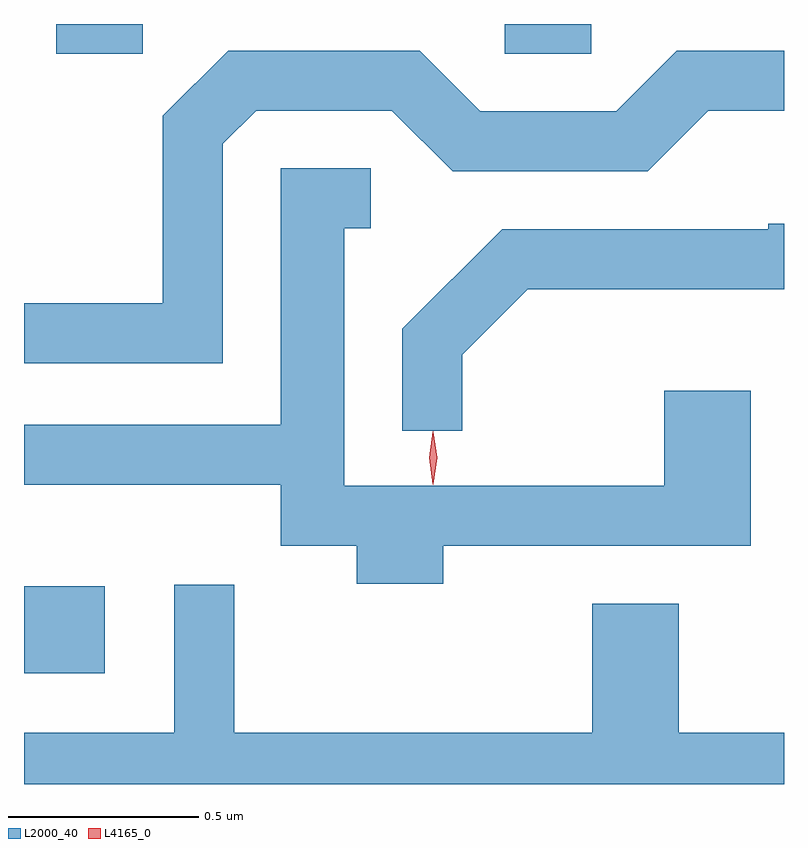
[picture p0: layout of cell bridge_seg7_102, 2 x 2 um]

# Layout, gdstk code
import gdstk
lib = gdstk.Library(unit=1e-6, precision=1e-09)
def R(c, l, rs):  # rectangles x0, y0, x1, y1
    for r in rs: c.add(gdstk.rectangle(r[:2], r[2:], *l))
def P(c, l, *ps):  # polygons
    for p in ps: c.add(gdstk.Polygon(p, *l))
L2000_40 = (2000, 40)
L4165_0 = (4165, 0)

bridge_seg7_102 = lib.new_cell('bridge_seg7_102')
R(bridge_seg7_102, L2000_40, [(1618.716,1752.481,1618.929,1752.709), (1618.801,1754.111,1619.029,1754.189), (1619.981,1754.111,1620.209,1754.189)])
P(bridge_seg7_102, L2000_40, [(1619.239,1753.874),(1619.327,1753.961),(1619.684,1753.961),(1619.844,1753.801),(1620.357,1753.801),(1620.517,1753.961),(1620.716,1753.961),(1620.716,1754.119),(1620.434,1754.119),(1620.274,1753.959),(1619.917,1753.959),(1619.757,1754.119),(1619.254,1754.119),(1619.081,1753.947),(1619.081,1753.454),(1618.716,1753.454),(1618.716,1753.296),(1619.239,1753.296)],
  [(1619.819,1752.816),(1620.629,1752.816),(1620.629,1753.224),(1620.401,1753.224),(1620.401,1752.974),(1619.559,1752.974),(1619.559,1753.651),(1619.628,1753.651),(1619.628,1753.809),(1619.391,1753.809),(1619.391,1753.134),(1618.716,1753.134),(1618.716,1752.976),(1619.391,1752.976),(1619.391,1752.816),(1619.591,1752.816),(1619.591,1752.716),(1619.819,1752.716)],
  [(1619.869,1753.319),(1620.042,1753.491),(1620.716,1753.491),(1620.716,1753.664),(1620.675,1753.664),(1620.675,1753.649),(1619.974,1753.649),(1619.711,1753.387),(1619.711,1753.118),(1619.869,1753.118)],
  [(1620.716,1752.324),(1620.439,1752.324),(1620.439,1752.664),(1620.211,1752.664),(1620.211,1752.324),(1619.269,1752.324),(1619.269,1752.713),(1619.111,1752.713),(1619.111,1752.324),(1618.716,1752.324),(1618.716,1752.189),(1620.716,1752.189)])
P(bridge_seg7_102, L4165_0, [(1619.793,1752.977),(1619.792,1752.978),(1619.783,1753.047),(1619.792,1753.116),(1619.793,1753.117),(1619.793,1753.116),(1619.803,1753.047),(1619.793,1752.978)])

lib.write_gds('bridge_seg7_102.gds')
